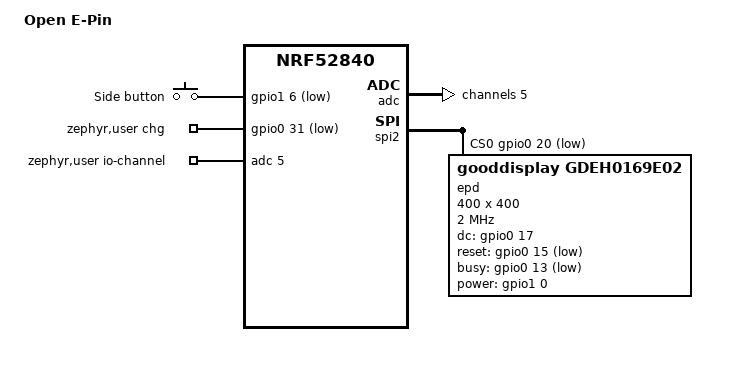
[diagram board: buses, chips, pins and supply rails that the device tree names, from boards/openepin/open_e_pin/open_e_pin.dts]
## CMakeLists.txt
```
# SPDX-License-Identifier: GPL-3.0-or-later
cmake_minimum_required(VERSION 3.20.0)

# The custom board lives in this repository, under boards/.
list(APPEND BOARD_ROOT ${CMAKE_CURRENT_SOURCE_DIR})
# Devicetree binding for the panel.
list(APPEND DTS_ROOT ${CMAKE_CURRENT_SOURCE_DIR})

find_package(Zephyr REQUIRED HINTS $ENV{ZEPHYR_BASE})
project(open_e_pin)

target_sources(app PRIVATE
	src/main.c
	src/ble_image.c
	src/xfer.c
	src/epd.c
	src/battery.c
	src/power.c
)
```

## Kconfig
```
# SPDX-License-Identifier: GPL-3.0-or-later

mainmenu "Open E-Pin firmware"

menu "Open E-Pin"

config EPIN_ADV_TIMEOUT_S
	int "Advertising window after a button press, in seconds"
	default 60

config EPIN_IDLE_TIMEOUT_S
	int "Time to stay awake after the app disconnects, in seconds"
	default 30
	help
	  The pin keeps advertising for this long after a disconnect so an
	  interrupted upload can resume, then goes to System OFF.

config EPIN_BATTERY_POLL_S
	int "Battery measurement interval while awake, in seconds"
	default 60

config EPIN_MIN_REFRESH_MV
	int "Lowest battery voltage that still allows a panel refresh, in mV"
	default 3400
	help
	  A refresh draws a burst of current from a 60 mAh cell. Below this
	  voltage the pin refuses COMMIT and CLEAR with LOW_BATTERY.

config EPIN_EPD_BUSY_TIMEOUT_S
	int "Longest wait for a panel refresh, in seconds"
	default 120
	help
	  The vendor sample allows 120 s for the refresh, 60 s for power
	  on/off and 15 s for reset.

config EPIN_EPD_CS_PER_BYTE
	bool "Toggle panel chip select around every byte"
	help
	  The vendor sample raises CS after every byte. By default the frame
	  goes out in 4 kB bursts with CS held low, which is much faster.
	  Turn this on if the panel shows garbage.

config EPIN_HW_REV
	int "Hardware revision reported in the Info characteristic"
	default 1

endmenu

source "Kconfig.zephyr"
```

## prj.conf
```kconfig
# Open E-Pin application configuration (all boards).

# Bluetooth LE peripheral
CONFIG_BT=y
CONFIG_BT_PERIPHERAL=y
CONFIG_BT_DEVICE_NAME="Open E-Pin"
CONFIG_BT_MAX_CONN=1
CONFIG_BT_BAS=y
CONFIG_BT_DIS=y
CONFIG_BT_DIS_MODEL_NUMBER=y
CONFIG_BT_DIS_MODEL_NUMBER_STR="Open E-Pin"
CONFIG_BT_DIS_MANUF_NAME=y
CONFIG_BT_DIS_MANUF_NAME_STR="Open E-Pin project"
CONFIG_BT_DIS_FW_REV=y
CONFIG_BT_DIS_FW_REV_STR="0.1.0"

# Large MTU, long packets, 2M PHY and a short interval for fast image transfer
CONFIG_BT_L2CAP_TX_MTU=247
CONFIG_BT_BUF_ACL_RX_SIZE=251
CONFIG_BT_BUF_ACL_TX_SIZE=251
CONFIG_BT_CTLR_DATA_LENGTH_MAX=251
CONFIG_BT_USER_PHY_UPDATE=y
CONFIG_BT_USER_DATA_LEN_UPDATE=y
CONFIG_BT_GAP_AUTO_UPDATE_CONN_PARAMS=y
CONFIG_BT_PERIPHERAL_PREF_MIN_INT=6
CONFIG_BT_PERIPHERAL_PREF_MAX_INT=12
CONFIG_BT_PERIPHERAL_PREF_LATENCY=0
CONFIG_BT_PERIPHERAL_PREF_TIMEOUT=400

# Peripherals
CONFIG_GPIO=y
CONFIG_SPI=y
CONFIG_ADC=y
CONFIG_PM_DEVICE=y
CONFIG_POWEROFF=y
CONFIG_HWINFO=y

# Threads
CONFIG_MAIN_STACK_SIZE=2048
CONFIG_SYSTEM_WORKQUEUE_STACK_SIZE=2048

# Logging (the board config picks the backend)
CONFIG_LOG=y
```

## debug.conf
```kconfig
# Extra options for bench debugging: west build -- -DEXTRA_CONF_FILE=debug.conf
CONFIG_LOG_DEFAULT_LEVEL=4
CONFIG_ASSERT=y
CONFIG_THREAD_NAME=y
CONFIG_BT_LOG_LEVEL_INF=y
```

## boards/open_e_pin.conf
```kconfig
# The board has no UART pins: log over SEGGER RTT through the SWD pads.
CONFIG_USE_SEGGER_RTT=y
CONFIG_LOG_BACKEND_RTT=y
CONFIG_LOG_BACKEND_UART=n
CONFIG_CONSOLE=n
CONFIG_UART_CONSOLE=n
CONFIG_SERIAL=n
CONFIG_LOG_BACKEND_RTT_MODE_DROP=y
```

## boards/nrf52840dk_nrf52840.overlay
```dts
/* SPDX-License-Identifier: GPL-3.0-or-later */
/*
 * Bench setup: nRF52840 DK with a GDEH0169E02 on a Good Display adapter
 * board (DESPI-C02 or similar). Wire:
 *   SCK P1.15, MOSI P1.13, CS P1.12, DC P1.11, RST P1.10, BUSY P1.14,
 *   adapter power switch (optional) P1.08.
 * DK Button 1 stands in for the side button. P0.29 (AIN5) can take a
 * battery divider; P1.07 stands in for the charger status line.
 */

#include <zephyr/dt-bindings/adc/nrf-saadc.h>

&pinctrl {
	epd_spi_default: epd_spi_default {
		group1 {
			psels = <NRF_PSEL(SPIM_SCK, 1, 15)>,
				<NRF_PSEL(SPIM_MOSI, 1, 13)>;
		};
	};

	epd_spi_sleep: epd_spi_sleep {
		group1 {
			psels = <NRF_PSEL(SPIM_SCK, 1, 15)>,
				<NRF_PSEL(SPIM_MOSI, 1, 13)>;
			low-power-enable;
		};
	};
};

/ {
	zephyr,user {
		io-channels = <&adc 5>;
		chg-gpios = <&gpio1 7 (GPIO_ACTIVE_LOW | GPIO_PULL_UP)>;
	};
};

&adc {
	#address-cells = <1>;
	#size-cells = <0>;
	status = "okay";

	channel@5 {
		reg = <5>;
		zephyr,gain = "ADC_GAIN_1_6";
		zephyr,reference = "ADC_REF_INTERNAL";
		zephyr,acquisition-time = <ADC_ACQ_TIME(ADC_ACQ_TIME_MICROSECONDS, 40)>;
		zephyr,input-positive = <NRF_SAADC_AIN5>;
		zephyr,resolution = <12>;
		zephyr,oversampling = <4>;
	};
};

&spi2 {
	compatible = "nordic,nrf-spim";
	status = "okay";
	pinctrl-0 = <&epd_spi_default>;
	pinctrl-1 = <&epd_spi_sleep>;
	pinctrl-names = "default", "sleep";
	cs-gpios = <&gpio1 12 GPIO_ACTIVE_LOW>;

	epd: epd@0 {
		compatible = "gooddisplay,gdeh0169e02";
		reg = <0>;
		spi-max-frequency = <2000000>;
		dc-gpios = <&gpio1 11 GPIO_ACTIVE_HIGH>;
		reset-gpios = <&gpio1 10 GPIO_ACTIVE_LOW>;
		busy-gpios = <&gpio1 14 GPIO_ACTIVE_LOW>;
		power-gpios = <&gpio1 8 GPIO_ACTIVE_HIGH>;
		width = <400>;
		height = <400>;
	};
};
```

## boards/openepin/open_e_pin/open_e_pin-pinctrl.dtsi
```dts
/* SPDX-License-Identifier: GPL-3.0-or-later */
/* Pin map: hardware/README.md, "MCU pin map". */

&pinctrl {
	epd_spi_default: epd_spi_default {
		group1 {
			psels = <NRF_PSEL(SPIM_SCK, 0, 22)>,
				<NRF_PSEL(SPIM_MOSI, 0, 24)>;
		};
	};

	epd_spi_sleep: epd_spi_sleep {
		group1 {
			psels = <NRF_PSEL(SPIM_SCK, 0, 22)>,
				<NRF_PSEL(SPIM_MOSI, 0, 24)>;
			low-power-enable;
		};
	};
};
```

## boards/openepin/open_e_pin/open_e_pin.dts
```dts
/* SPDX-License-Identifier: GPL-3.0-or-later */
/*
 * Open E-Pin board v0.1: Raytac MDBT50Q-1MV2 (nRF52840), GDEH0169E02 round
 * e-paper on SPI, side button, LiPo with divider and charger status line.
 * Pin map: hardware/README.md and hardware/scripts/design.py.
 */

/dts-v1/;
#include <nordic/nrf52840_qiaa.dtsi>
#include <zephyr/dt-bindings/input/input-event-codes.h>
#include <zephyr/dt-bindings/adc/nrf-saadc.h>
#include <zephyr/dt-bindings/regulator/nrf5x.h>
#include "open_e_pin-pinctrl.dtsi"

/ {
	model = "Open E-Pin";
	compatible = "openepin,open-e-pin";

	chosen {
		zephyr,sram = &sram0;
		zephyr,flash = &flash0;
		zephyr,code-partition = &code_partition;
	};

	aliases {
		sw0 = &button0;
	};

	buttons {
		compatible = "gpio-keys";
		/* SW1 side button to GND on P1.06, internal pull-up. */
		button0: button_0 {
			gpios = <&gpio1 6 (GPIO_PULL_UP | GPIO_ACTIVE_LOW)>;
			label = "Side button";
			zephyr,code = <INPUT_KEY_0>;
		};
	};

	zephyr,user {
		/* VBAT_SYS through a 10M/10M divider on P0.29 (AIN5). */
		io-channels = <&adc 5>;
		/* BQ25101 ~CHG through 100k on P0.31: low while charging. */
		chg-gpios = <&gpio0 31 (GPIO_ACTIVE_LOW | GPIO_PULL_UP)>;
	};
};

&reg1 {
	/* The module carries the DC/DC inductors. */
	regulator-initial-mode = <NRF5X_REG_MODE_DCDC>;
};

&uicr {
	/* P0.18 is the reset pin, on the RESET test pad. */
	gpio-as-nreset;
};

&gpiote {
	status = "okay";
};

&gpio0 {
	status = "okay";
};

&gpio1 {
	status = "okay";
};

&adc {
	#address-cells = <1>;
	#size-cells = <0>;
	status = "okay";

	channel@5 {
		reg = <5>;
		zephyr,gain = "ADC_GAIN_1_6";
		zephyr,reference = "ADC_REF_INTERNAL";
		/* 10M source impedance: longest acquisition time, 100 nF hold cap. */
		zephyr,acquisition-time = <ADC_ACQ_TIME(ADC_ACQ_TIME_MICROSECONDS, 40)>;
		zephyr,input-positive = <NRF_SAADC_AIN5>;
		zephyr,resolution = <12>;
		zephyr,oversampling = <4>;
	};
};

&spi2 {
	compatible = "nordic,nrf-spim";
	status = "okay";
	pinctrl-0 = <&epd_spi_default>;
	pinctrl-1 = <&epd_spi_sleep>;
	pinctrl-names = "default", "sleep";
	cs-gpios = <&gpio0 20 GPIO_ACTIVE_LOW>;

	epd: epd@0 {
		compatible = "gooddisplay,gdeh0169e02";
		reg = <0>;
		spi-max-frequency = <2000000>;	/* as the vendor sample */
		dc-gpios = <&gpio0 17 GPIO_ACTIVE_HIGH>;	/* high = data */
		reset-gpios = <&gpio0 15 GPIO_ACTIVE_LOW>;
		/* BUSY low = busy: spec pin table and the vendor sample agree (note 6-4 says the opposite). */
		busy-gpios = <&gpio0 13 GPIO_ACTIVE_LOW>;
		power-gpios = <&gpio1 0 GPIO_ACTIVE_HIGH>;	/* TPS22916C enable */
		width = <400>;
		height = <400>;
	};
};

&flash0 {
	partitions {
		compatible = "fixed-partitions";
		#address-cells = <1>;
		#size-cells = <1>;

		code_partition: partition@0 {
			label = "code";
			reg = <0x00000000 0x000f8000>;
		};

		storage_partition: partition@f8000 {
			label = "storage";
			reg = <0x000f8000 0x00008000>;
		};
	};
};
```

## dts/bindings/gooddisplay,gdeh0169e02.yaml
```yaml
# SPDX-License-Identifier: GPL-3.0-or-later

description: |
  Good Display GDEH0169E02, 1.69 inch round 400x400 Spectra 6 e-paper
  (IST7601 / JD7601 controller) on 4-wire SPI. Used directly by the Open E-Pin
  application, not through the Zephyr display API.

compatible: "gooddisplay,gdeh0169e02"

include: spi-device.yaml

properties:
  dc-gpios:
    type: phandle-array
    required: true
    description: Data/command select. Active (high) = data.

  reset-gpios:
    type: phandle-array
    required: true
    description: RST_N, active low.

  busy-gpios:
    type: phandle-array
    required: true
    description: BUSY. Flag it so that "active" means the panel is busy.

  power-gpios:
    type: phandle-array
    description: Optional load-switch enable for the panel supply.

  width:
    type: int
    required: true

  height:
    type: int
    required: true
```

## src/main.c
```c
/* SPDX-License-Identifier: GPL-3.0-or-later */
/*
 * Open E-Pin firmware: wake on button, advertise, receive an image over BLE,
 * draw it on the round e-paper panel, go back to System OFF.
 */
#include <zephyr/bluetooth/bluetooth.h>
#include <zephyr/bluetooth/conn.h>
#include <zephyr/bluetooth/gap.h>
#include <zephyr/bluetooth/uuid.h>
#include <zephyr/kernel.h>
#include <zephyr/logging/log.h>

#include <app_version.h>

#include "battery.h"
#include "ble_image.h"
#include "epd.h"
#include "power.h"
#include "proto.h"

LOG_MODULE_REGISTER(main, LOG_LEVEL_INF);

/* An idle connection is dropped after this long, so a forgotten app can't
 * keep the pin awake. */
#define CONN_IDLE_TIMEOUT_MS (120 * 1000)

static const struct bt_data ad[] = {
	BT_DATA_BYTES(BT_DATA_FLAGS, (BT_LE_AD_GENERAL | BT_LE_AD_NO_BREDR)),
	BT_DATA(BT_DATA_NAME_COMPLETE, CONFIG_BT_DEVICE_NAME, sizeof(CONFIG_BT_DEVICE_NAME) - 1),
};

static const struct bt_data sd[] = {
	BT_DATA_BYTES(BT_DATA_UUID128_ALL, EPIN_UUID_SVC),
};

static struct bt_conn *current_conn;
static bool advertising;
static bool sleep_asap; /* the app sent SLEEP */

/* ---- sleep ------------------------------------------------------------ */

static void sleep_fn(struct k_work *work);
static K_WORK_DELAYABLE_DEFINE(sleep_work, sleep_fn);

static void schedule_sleep(int seconds)
{
	k_work_reschedule(&sleep_work, K_SECONDS(seconds));
}

static void sleep_fn(struct k_work *work)
{
	ARG_UNUSED(work);

	if (current_conn || ble_image_busy()) {
		/* Disconnect and refresh-done both reschedule. */
		return;
	}
	if (advertising) {
		(void)bt_le_adv_stop();
		advertising = false;
	}
	ble_image_reset();
	power_sleep();
}

/* ---- advertising ------------------------------------------------------ */

static void start_advertising(void)
{
	const struct bt_le_adv_param *param = BT_LE_ADV_PARAM(
		BT_LE_ADV_OPT_CONN, BT_GAP_ADV_FAST_INT_MIN_2, BT_GAP_ADV_FAST_INT_MAX_2, NULL);
	int err;

	if (advertising || current_conn) {
		return;
	}
	err = bt_le_adv_start(param, ad, ARRAY_SIZE(ad), sd, ARRAY_SIZE(sd));
	if (err) {
		LOG_ERR("advertising failed (%d)", err);
		return;
	}
	advertising = true;
	LOG_INF("advertising");
}

/* ---- connection ------------------------------------------------------- */

static void connected(struct bt_conn *conn, uint8_t err)
{
	if (err) {
		LOG_WRN("connection failed (0x%02x)", err);
		advertising = false;
		start_advertising();
		return;
	}
	LOG_INF("connected");
	advertising = false; /* connectable advertising stops on connect */
	current_conn = bt_conn_ref(conn);
	k_work_cancel_delayable(&sleep_work);

	/* Fast transfer: 2M PHY and long data packets. The app also asks. */
	(void)bt_conn_le_phy_update(conn, BT_CONN_LE_PHY_PARAM_2M);
	(void)bt_conn_le_data_len_update(conn, BT_LE_DATA_LEN_PARAM_MAX);

	(void)battery_measure();
}

static void disconnected(struct bt_conn *conn, uint8_t reason)
{
	LOG_INF("disconnected (0x%02x)", reason);
	if (current_conn) {
		bt_conn_unref(current_conn);
		current_conn = NULL;
	}
	/* Keep advertising for a while so an interrupted upload can resume. */
	if (sleep_asap) {
		schedule_sleep(1);
		return;
	}
	start_advertising();
	schedule_sleep(CONFIG_EPIN_IDLE_TIMEOUT_S);
}

BT_CONN_CB_DEFINE(conn_callbacks) = {
	.connected = connected,
	.disconnected = disconnected,
};

/* ---- panel refresh ---------------------------------------------------- */

#define REFRESH_STACK_SIZE 2048
#define REFRESH_PRIORITY   K_LOWEST_APPLICATION_THREAD_PRIO
K_THREAD_STACK_DEFINE(refresh_stack, REFRESH_STACK_SIZE);
static struct k_work_q refresh_q;

static const uint8_t *refresh_frame;
static enum epd_color refresh_color;

static void refresh_fn(struct k_work *work)
{
	int err;

	ARG_UNUSED(work);
	if (refresh_frame) {
		err = epd_show_frame(refresh_frame, EPD_FRAME_BYTES);
	} else {
		err = epd_show_solid(refresh_color);
	}
	ble_image_refresh_done(err ? EPIN_ST_PANEL_ERROR : EPIN_ST_OK);
	(void)battery_measure();

	if (!current_conn) {
		schedule_sleep(CONFIG_EPIN_IDLE_TIMEOUT_S);
	}
}

static K_WORK_DEFINE(refresh_work, refresh_fn);

static int can_refresh(void)
{
	(void)battery_measure();
	if (battery_get().mv < CONFIG_EPIN_MIN_REFRESH_MV && !battery_get().usb) {
		return EPIN_ST_LOW_BATTERY;
	}
	return EPIN_ST_OK;
}

static void start_refresh(const uint8_t *frame, enum epd_color color)
{
	refresh_frame = frame;
	refresh_color = color;
	k_work_submit_to_queue(&refresh_q, &refresh_work);
}

static void disconnect_fn(struct k_work *work)
{
	ARG_UNUSED(work);
	if (current_conn) {
		(void)bt_conn_disconnect(current_conn, BT_HCI_ERR_REMOTE_USER_TERM_CONN);
	}
}

static K_WORK_DELAYABLE_DEFINE(disconnect_work, disconnect_fn);

static void sleep_requested(void)
{
	/* Give the response notification time to go out, then hang up. The
	 * disconnect handler then sleeps within a second. */
	sleep_asap = true;
	k_work_reschedule(&disconnect_work, K_MSEC(200));
}

static const struct ble_image_cb image_cb = {
	.can_refresh = can_refresh,
	.start_refresh = start_refresh,
	.sleep_requested = sleep_requested,
};

/* ---- button and housekeeping ------------------------------------------ */

static void on_button(void)
{
	LOG_INF("button");
	if (!current_conn) {
		start_advertising();
		schedule_sleep(CONFIG_EPIN_ADV_TIMEOUT_S);
	}
}

static void housekeeping_fn(struct k_work *work);
static K_WORK_DELAYABLE_DEFINE(housekeeping_work, housekeeping_fn);

static void housekeeping_fn(struct k_work *work)
{
	ARG_UNUSED(work);
	(void)battery_measure();

	if (current_conn && !ble_image_busy() &&
	    k_uptime_get() - ble_image_last_activity() > CONN_IDLE_TIMEOUT_MS) {
		LOG_INF("connection idle, disconnecting");
		(void)bt_conn_disconnect(current_conn, BT_HCI_ERR_REMOTE_USER_TERM_CONN);
	}
	k_work_reschedule(&housekeeping_work, K_SECONDS(CONFIG_EPIN_BATTERY_POLL_S));
}

int main(void)
{
	bool woke_by_button = false;
	int err;

	LOG_INF("Open E-Pin firmware %s", APP_VERSION_STRING);

	err = epd_setup();
	if (err) {
		LOG_ERR("panel setup failed (%d)", err);
	}
	err = power_init(on_button, &woke_by_button);
	if (err) {
		LOG_ERR("button setup failed (%d)", err);
	}

	k_work_queue_start(&refresh_q, refresh_stack, K_THREAD_STACK_SIZEOF(refresh_stack),
			   REFRESH_PRIORITY, NULL);

	err = bt_enable(NULL);
	if (err) {
		LOG_ERR("Bluetooth init failed (%d)", err);
		power_sleep();
	}

	err = battery_init();
	if (err) {
		LOG_ERR("battery init failed (%d)", err);
	}

	ble_image_init(&image_cb);

	/* Both a button wake and a first power-up (battery plugged in, or a
	 * reset from the debugger) open the advertising window. */
	start_advertising();
	schedule_sleep(CONFIG_EPIN_ADV_TIMEOUT_S);
	k_work_reschedule(&housekeeping_work, K_SECONDS(CONFIG_EPIN_BATTERY_POLL_S));

	return 0;
}
```

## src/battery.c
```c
/* SPDX-License-Identifier: GPL-3.0-or-later */
#include <zephyr/bluetooth/services/bas.h>
#include <zephyr/drivers/adc.h>
#include <zephyr/drivers/gpio.h>
#include <zephyr/kernel.h>
#include <zephyr/logging/log.h>

#if defined(CONFIG_SOC_SERIES_NRF52X)
#include <hal/nrf_power.h>
#endif

#include "battery.h"

LOG_MODULE_REGISTER(battery, LOG_LEVEL_INF);

#define USER_NODE DT_PATH(zephyr_user)

static const struct adc_dt_spec vbat = ADC_DT_SPEC_GET(USER_NODE);
static const struct gpio_dt_spec chg = GPIO_DT_SPEC_GET_OR(USER_NODE, chg_gpios, {0});

/* VBAT_SYS feeds the ADC through 10M / 10M. */
#define DIVIDER_NUM 2
#define DIVIDER_DEN 1

static struct battery_status cached;
static K_MUTEX_DEFINE(lock);

/* Resting-voltage curve for a small LiPo, in mV and percent. Light load. */
static const struct {
	uint16_t mv;
	uint8_t pct;
} curve[] = {
	{ 4180, 100 }, { 4100, 92 }, { 4000, 80 }, { 3900, 66 }, { 3800, 50 },
	{ 3750, 40 },  { 3700, 30 }, { 3650, 20 }, { 3600, 12 }, { 3500, 5 },
	{ 3300, 0 },
};

static uint8_t mv_to_percent(int mv)
{
	if (mv >= curve[0].mv) {
		return 100;
	}
	for (size_t i = 1; i < ARRAY_SIZE(curve); i++) {
		if (mv >= curve[i].mv) {
			int span_mv = curve[i - 1].mv - curve[i].mv;
			int span_pct = curve[i - 1].pct - curve[i].pct;

			return curve[i].pct + (mv - curve[i].mv) * span_pct / span_mv;
		}
	}
	return 0;
}

int battery_init(void)
{
	int err;

	if (!adc_is_ready_dt(&vbat)) {
		LOG_ERR("ADC not ready");
		return -ENODEV;
	}
	err = adc_channel_setup_dt(&vbat);
	if (err) {
		return err;
	}
	if (chg.port) {
		err = gpio_pin_configure_dt(&chg, GPIO_INPUT);
		if (err) {
			return err;
		}
	}
	return battery_measure();
}

int battery_measure(void)
{
	int16_t sample = 0;
	struct adc_sequence seq = {
		.buffer = &sample,
		.buffer_size = sizeof(sample),
	};
	struct battery_status s = { 0 };
	int32_t mv;
	int err;

	adc_sequence_init_dt(&vbat, &seq);
	err = adc_read_dt(&vbat, &seq);
	if (err) {
		LOG_ERR("ADC read failed (%d)", err);
		return err;
	}

	mv = MAX(sample, 0);
	err = adc_raw_to_millivolts_dt(&vbat, &mv);
	if (err) {
		return err;
	}
	mv = mv * DIVIDER_NUM / DIVIDER_DEN;

	s.mv = (uint16_t)CLAMP(mv, 0, UINT16_MAX);
	s.percent = mv_to_percent(mv);
	s.charging = chg.port ? gpio_pin_get_dt(&chg) == 1 : false;
#if defined(CONFIG_SOC_SERIES_NRF52X) && NRF_POWER_HAS_USBREG
	s.usb = nrf_power_usbregstatus_vbusdet_get(NRF_POWER);
#endif

	k_mutex_lock(&lock, K_FOREVER);
	cached = s;
	k_mutex_unlock(&lock);

	bt_bas_set_battery_level(s.percent);
	LOG_INF("battery %u mV, %u%%%s%s", s.mv, s.percent,
		s.charging ? ", charging" : "", s.usb ? ", USB" : "");
	return 0;
}

struct battery_status battery_get(void)
{
	struct battery_status s;

	k_mutex_lock(&lock, K_FOREVER);
	s = cached;
	k_mutex_unlock(&lock);
	return s;
}
```

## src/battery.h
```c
/* SPDX-License-Identifier: GPL-3.0-or-later */
#ifndef EPIN_BATTERY_H_
#define EPIN_BATTERY_H_

#include <stdbool.h>
#include <stdint.h>

struct battery_status {
	uint16_t mv;     /* VBAT_SYS in millivolts */
	uint8_t percent; /* 0..100, from a LiPo discharge curve */
	bool charging;   /* BQ25101 ~CHG is low */
	bool usb;        /* VBUS present */
};

int battery_init(void);

/* Take a fresh measurement, update the cached value and the Battery Service. */
int battery_measure(void);

/* Last measurement. */
struct battery_status battery_get(void);

#endif /* EPIN_BATTERY_H_ */
```

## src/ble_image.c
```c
/* SPDX-License-Identifier: GPL-3.0-or-later */
#include <zephyr/bluetooth/bluetooth.h>
#include <zephyr/bluetooth/conn.h>
#include <zephyr/bluetooth/gatt.h>
#include <zephyr/bluetooth/uuid.h>
#include <zephyr/kernel.h>
#include <zephyr/logging/log.h>
#include <zephyr/sys/byteorder.h>

#include <app_version.h>

#include "battery.h"
#include "ble_image.h"
#include "epd.h"
#include "proto.h"
#include "xfer.h"

LOG_MODULE_REGISTER(ble_image, LOG_LEVEL_INF);

static struct bt_uuid_128 svc_uuid = BT_UUID_INIT_128(EPIN_UUID_SVC);
static struct bt_uuid_128 info_uuid = BT_UUID_INIT_128(EPIN_UUID_INFO);
static struct bt_uuid_128 ctrl_uuid = BT_UUID_INIT_128(EPIN_UUID_CONTROL);
static struct bt_uuid_128 data_uuid = BT_UUID_INIT_128(EPIN_UUID_DATA);

/* The whole frame lives in RAM (80 kB of 256 kB) so a dropped link can resume. */
static uint8_t frame[EPD_FRAME_BYTES];
static struct xfer xfer;
static K_MUTEX_DEFINE(lock);

static const struct ble_image_cb *cbs;
static bool clearing; /* CLEAR in progress (xfer stays idle) */
static int64_t last_activity;

static ssize_t read_info(struct bt_conn *conn, const struct bt_gatt_attr *attr,
			 void *buf, uint16_t len, uint16_t offset);
static ssize_t write_ctrl(struct bt_conn *conn, const struct bt_gatt_attr *attr,
			  const void *buf, uint16_t len, uint16_t offset, uint8_t flags);
static ssize_t write_data(struct bt_conn *conn, const struct bt_gatt_attr *attr,
			  const void *buf, uint16_t len, uint16_t offset, uint8_t flags);

BT_GATT_SERVICE_DEFINE(epin_svc,
	BT_GATT_PRIMARY_SERVICE(&svc_uuid),
	BT_GATT_CHARACTERISTIC(&info_uuid.uuid, BT_GATT_CHRC_READ,
			       BT_GATT_PERM_READ, read_info, NULL, NULL),
	BT_GATT_CHARACTERISTIC(&ctrl_uuid.uuid, BT_GATT_CHRC_WRITE | BT_GATT_CHRC_NOTIFY,
			       BT_GATT_PERM_WRITE, NULL, write_ctrl, NULL),
	BT_GATT_CCC(NULL, BT_GATT_PERM_READ | BT_GATT_PERM_WRITE),
	BT_GATT_CHARACTERISTIC(&data_uuid.uuid, BT_GATT_CHRC_WRITE_WITHOUT_RESP,
			       BT_GATT_PERM_WRITE, NULL, write_data, NULL),
);

/* Attribute index of the Control value, for notifications. */
#define CTRL_ATTR (&epin_svc.attrs[4])

static void notify(struct bt_conn *conn, const uint8_t *msg, size_t len)
{
	int err = bt_gatt_notify(conn, CTRL_ATTR, msg, len);

	if (err && err != -ENOTCONN) {
		LOG_WRN("notify 0x%02x failed (%d)", msg[0], err);
	}
}

static void respond(struct bt_conn *conn, uint8_t op, uint8_t status,
		    const uint8_t *payload, size_t plen)
{
	uint8_t msg[2 + 8];

	__ASSERT_NO_MSG(plen <= 8);
	msg[0] = EPIN_OP_RESPONSE | op;
	msg[1] = status;
	memcpy(&msg[2], payload, plen);
	notify(conn, msg, 2 + plen);
}

static void event_u32(struct bt_conn *conn, uint8_t evt, uint32_t value)
{
	uint8_t msg[5] = { evt };

	sys_put_le32(value, &msg[1]);
	notify(conn, msg, sizeof(msg));
}

static bool panel_busy_locked(void)
{
	return clearing || xfer.state == XFER_REFRESHING;
}

static ssize_t read_info(struct bt_conn *conn, const struct bt_gatt_attr *attr,
			 void *buf, uint16_t len, uint16_t offset)
{
	struct battery_status bat = battery_get();
	uint8_t info[16] = { 0 };
	uint8_t state;

	k_mutex_lock(&lock, K_FOREVER);
	state = clearing ? XFER_REFRESHING : xfer_reported_state(&xfer);
	k_mutex_unlock(&lock);

	info[0] = EPIN_PROTO_VERSION;
	info[1] = CONFIG_EPIN_HW_REV;
	sys_put_le16(EPD_WIDTH, &info[2]);
	sys_put_le16(EPD_HEIGHT, &info[4]);
	info[6] = EPIN_FMT_MASK;
	info[7] = state;
	sys_put_le16(bat.mv, &info[8]);
	info[10] = bat.percent;
	info[11] = (bat.charging ? BIT(0) : 0) | (bat.usb ? BIT(1) : 0);
	info[12] = APP_VERSION_MAJOR;
	info[13] = APP_VERSION_MINOR;
	info[14] = APP_PATCHLEVEL;

	return bt_gatt_attr_read(conn, attr, buf, len, offset, info, sizeof(info));
}

static bool valid_color(uint8_t c)
{
	switch (c) {
	case EPD_BLACK: case EPD_WHITE: case EPD_YELLOW:
	case EPD_RED: case EPD_BLUE: case EPD_GREEN:
		return true;
	default:
		return false;
	}
}

static ssize_t write_ctrl(struct bt_conn *conn, const struct bt_gatt_attr *attr,
			  const void *buf, uint16_t len, uint16_t offset, uint8_t flags)
{
	const uint8_t *p = buf;
	uint8_t out[5];
	uint32_t resume;
	int st;

	if (offset != 0) {
		return BT_GATT_ERR(BT_ATT_ERR_INVALID_OFFSET);
	}
	if (len < 1) {
		return BT_GATT_ERR(BT_ATT_ERR_INVALID_ATTRIBUTE_LEN);
	}

	k_mutex_lock(&lock, K_FOREVER);
	last_activity = k_uptime_get();

	switch (p[0]) {
	case EPIN_OP_START:
		if (len != 14) {
			st = EPIN_ST_BAD_LENGTH;
			resume = 0;
		} else if (clearing) {
			st = EPIN_ST_BUSY;
			resume = 0;
		} else {
			st = xfer_start(&xfer, p[1], sys_get_le32(&p[2]), sys_get_le32(&p[6]),
					sys_get_le32(&p[10]), &resume);
		}
		LOG_INF("START len %u id 0x%08x: status %d, offset %u",
			len == 14 ? sys_get_le32(&p[2]) : 0, len == 14 ? sys_get_le32(&p[10]) : 0,
			st, resume);
		sys_put_le32(resume, out);
		respond(conn, EPIN_OP_START, st, out, 4);
		break;

	case EPIN_OP_STATUS:
		out[0] = clearing ? XFER_REFRESHING : xfer_reported_state(&xfer);
		sys_put_le32(xfer.offset, &out[1]);
		respond(conn, EPIN_OP_STATUS, EPIN_ST_OK, out, 5);
		break;

	case EPIN_OP_COMMIT:
		if (panel_busy_locked()) {
			st = EPIN_ST_BUSY;
		} else if (xfer_reported_state(&xfer) != XFER_READY) {
			st = EPIN_ST_BAD_STATE;
		} else {
			st = cbs->can_refresh();
			if (st == EPIN_ST_OK) {
				st = xfer_commit(&xfer);
			}
		}
		LOG_INF("COMMIT: status %d", st);
		respond(conn, EPIN_OP_COMMIT, st, NULL, 0);
		if (st == EPIN_ST_OK) {
			cbs->start_refresh(frame, EPD_WHITE);
		}
		break;

	case EPIN_OP_ABORT:
		xfer_reset(&xfer);
		respond(conn, EPIN_OP_ABORT, EPIN_ST_OK, NULL, 0);
		break;

	case EPIN_OP_CLEAR:
		if (len != 2 || !valid_color(p[1])) {
			st = EPIN_ST_BAD_FORMAT;
		} else if (panel_busy_locked()) {
			st = EPIN_ST_BUSY;
		} else {
			st = cbs->can_refresh();
		}
		respond(conn, EPIN_OP_CLEAR, st, NULL, 0);
		if (st == EPIN_ST_OK) {
			xfer_reset(&xfer);
			clearing = true;
			cbs->start_refresh(NULL, (enum epd_color)p[1]);
		}
		break;

	case EPIN_OP_SLEEP:
		respond(conn, EPIN_OP_SLEEP, EPIN_ST_OK, NULL, 0);
		cbs->sleep_requested();
		break;

	default:
		respond(conn, p[0] & ~EPIN_OP_RESPONSE, EPIN_ST_UNKNOWN_OPCODE, NULL, 0);
		break;
	}

	k_mutex_unlock(&lock);
	return len;
}

static ssize_t write_data(struct bt_conn *conn, const struct bt_gatt_attr *attr,
			  const void *buf, uint16_t len, uint16_t offset, uint8_t flags)
{
	const uint8_t *p = buf;
	enum xfer_data_result r;
	uint32_t at;
	int st = EPIN_ST_OK;

	if (offset != 0 || len <= EPIN_DATA_HDR_LEN) {
		return BT_GATT_ERR(BT_ATT_ERR_INVALID_ATTRIBUTE_LEN);
	}

	k_mutex_lock(&lock, K_FOREVER);
	last_activity = k_uptime_get();
	r = xfer_data(&xfer, sys_get_le32(p), p + EPIN_DATA_HDR_LEN,
		      len - EPIN_DATA_HDR_LEN, &st);
	at = xfer.offset;
	k_mutex_unlock(&lock);

	switch (r) {
	case XFER_DATA_ACK:
		event_u32(conn, EPIN_EVT_PROGRESS, at);
		break;
	case XFER_DATA_NAK:
		LOG_WRN("out of order at %u, expected %u", sys_get_le32(p), at);
		event_u32(conn, EPIN_EVT_NAK, at);
		break;
	case XFER_DATA_ERROR:
		LOG_WRN("data packet rejected (status %d)", st);
		break;
	default:
		break;
	}
	return len;
}

void ble_image_init(const struct ble_image_cb *cb)
{
	cbs = cb;
	xfer_init(&xfer, frame, sizeof(frame));
	last_activity = k_uptime_get();
}

void ble_image_refresh_done(int status)
{
	uint8_t msg[2] = { EPIN_EVT_REFRESH_DONE, (uint8_t)status };

	k_mutex_lock(&lock, K_FOREVER);
	clearing = false;
	if (xfer.state == XFER_REFRESHING) {
		xfer_refresh_done(&xfer);
	}
	last_activity = k_uptime_get();
	k_mutex_unlock(&lock);

	notify(NULL, msg, sizeof(msg));
}

bool ble_image_busy(void)
{
	bool busy;

	k_mutex_lock(&lock, K_FOREVER);
	busy = panel_busy_locked();
	k_mutex_unlock(&lock);
	return busy;
}

int64_t ble_image_last_activity(void)
{
	return last_activity;
}

void ble_image_reset(void)
{
	k_mutex_lock(&lock, K_FOREVER);
	xfer_reset(&xfer);
	k_mutex_unlock(&lock);
}
```

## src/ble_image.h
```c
/* SPDX-License-Identifier: GPL-3.0-or-later */
/*
 * Open E-Pin image service: Info, Control and Data characteristics.
 * Protocol: docs/ble-protocol.md.
 */
#ifndef EPIN_BLE_IMAGE_H_
#define EPIN_BLE_IMAGE_H_

#include <stdbool.h>
#include <stdint.h>

#include "epd.h"

struct ble_image_cb {
	/* Return EPIN_ST_OK if a refresh may start now (battery check). */
	int (*can_refresh)(void);
	/* Start drawing. frame is NULL for CLEAR, then color is used. Must not
	 * block: queue the work and call ble_image_refresh_done() when finished. */
	void (*start_refresh)(const uint8_t *frame, enum epd_color color);
	/* The app asked the pin to sleep. */
	void (*sleep_requested)(void);
};

void ble_image_init(const struct ble_image_cb *cb);

/* The panel finished (status is an epin_status). Notifies REFRESH_DONE. */
void ble_image_refresh_done(int status);

/* True while the panel is drawing. */
bool ble_image_busy(void);

/* Uptime in ms of the last request or data packet. */
int64_t ble_image_last_activity(void);

/* Drop any partial transfer (before sleeping). */
void ble_image_reset(void);

#endif /* EPIN_BLE_IMAGE_H_ */
```

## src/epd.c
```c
/* SPDX-License-Identifier: GPL-3.0-or-later */
#include <errno.h>
#include <string.h>

#include <zephyr/device.h>
#include <zephyr/drivers/gpio.h>
#include <zephyr/drivers/spi.h>
#include <zephyr/kernel.h>
#include <zephyr/logging/log.h>
#include <zephyr/pm/device.h>

#include "epd.h"
#include "epd_cmds.h"

LOG_MODULE_REGISTER(epd, LOG_LEVEL_INF);

#define EPD_NODE DT_COMPAT_GET_ANY_STATUS_OKAY(gooddisplay_gdeh0169e02)

BUILD_ASSERT(DT_NODE_EXISTS(EPD_NODE), "No gooddisplay,gdeh0169e02 node in devicetree");
BUILD_ASSERT(DT_PROP(EPD_NODE, width) == EPD_WIDTH && DT_PROP(EPD_NODE, height) == EPD_HEIGHT,
	     "Panel size in devicetree does not match epd.h");

static const struct spi_dt_spec spi = SPI_DT_SPEC_GET(
	EPD_NODE, SPI_OP_MODE_MASTER | SPI_WORD_SET(8) | SPI_TRANSFER_MSB, 0);
static const struct gpio_dt_spec dc = GPIO_DT_SPEC_GET(EPD_NODE, dc_gpios);
static const struct gpio_dt_spec rst = GPIO_DT_SPEC_GET(EPD_NODE, reset_gpios);
static const struct gpio_dt_spec busy = GPIO_DT_SPEC_GET(EPD_NODE, busy_gpios);
static const struct gpio_dt_spec pwr = GPIO_DT_SPEC_GET_OR(EPD_NODE, power_gpios, {0});

/* Largest single SPI transfer; the nRF52840 SPIM DMA limit is 65535. The
 * vendor sample toggles CS around every byte; CONFIG_EPIN_EPD_CS_PER_BYTE
 * does the same if the panel turns out to need it. */
#define EPD_SPI_CHUNK (IS_ENABLED(CONFIG_EPIN_EPD_CS_PER_BYTE) ? 1 : 4096)

/* BUSY timeouts from the vendor sample. */
#define BUSY_TIMEOUT_INIT_MS    15000
#define BUSY_TIMEOUT_POWER_MS   60000
#define BUSY_TIMEOUT_REFRESH_MS (CONFIG_EPIN_EPD_BUSY_TIMEOUT_S * 1000)

static int write_bytes(const uint8_t *data, size_t len)
{
	while (len > 0) {
		size_t n = MIN(len, EPD_SPI_CHUNK);
		const struct spi_buf b = { .buf = (void *)data, .len = n };
		const struct spi_buf_set tx = { .buffers = &b, .count = 1 };
		int err = spi_write_dt(&spi, &tx);

		if (err) {
			return err;
		}
		data += n;
		len -= n;
	}
	return 0;
}

static int send_cmd(uint8_t cmd, const uint8_t *data, size_t len)
{
	int err;

	gpio_pin_set_dt(&dc, 0);
	err = write_bytes(&cmd, 1);
	if (err || len == 0) {
		return err;
	}
	gpio_pin_set_dt(&dc, 1);
	return write_bytes(data, len);
}

static int wait_idle(int32_t timeout_ms)
{
	int64_t deadline = k_uptime_get() + timeout_ms;

	k_msleep(1);
	while (gpio_pin_get_dt(&busy) == 1) {
		if (k_uptime_get() > deadline) {
			LOG_ERR("BUSY timeout");
			return -ETIMEDOUT;
		}
		k_msleep(10);
	}
	return 0;
}

/* DTM: the vendor sample waits for BUSY between the command and the frame. */
static int start_frame(void)
{
	int err = send_cmd(EPD_CMD_DTM, NULL, 0);

	err = err ? err : wait_idle(BUSY_TIMEOUT_INIT_MS);
	gpio_pin_set_dt(&dc, 1);
	return err;
}

/* Before the panel loses power: drive CS, DC and RST low and let the SPI
 * pins go to their sleep state (disconnected), so no line sits high and
 * feeds the unpowered panel through its ESD diodes. */
static void lines_low(void)
{
	(void)gpio_pin_configure_dt(&spi.config.cs.gpio, GPIO_OUTPUT_LOW);
	(void)gpio_pin_configure_dt(&dc, GPIO_OUTPUT_LOW);
	(void)gpio_pin_configure_dt(&rst, GPIO_OUTPUT_LOW);
	(void)pm_device_action_run(spi.bus, PM_DEVICE_ACTION_SUSPEND);
}

/* With the panel off: disconnect everything so nothing floats or leaks. */
static void park_pins(void)
{
	(void)pm_device_action_run(spi.bus, PM_DEVICE_ACTION_SUSPEND);
	(void)gpio_pin_configure_dt(&spi.config.cs.gpio, GPIO_DISCONNECTED);
	(void)gpio_pin_configure_dt(&dc, GPIO_DISCONNECTED);
	(void)gpio_pin_configure_dt(&rst, GPIO_DISCONNECTED);
	(void)gpio_pin_configure_dt(&busy, GPIO_DISCONNECTED);
}

int epd_setup(void)
{
	if (!spi_is_ready_dt(&spi) || !gpio_is_ready_dt(&dc) ||
	    !gpio_is_ready_dt(&rst) || !gpio_is_ready_dt(&busy)) {
		LOG_ERR("panel bus or GPIOs not ready");
		return -ENODEV;
	}
	if (pwr.port) {
		gpio_pin_configure_dt(&pwr, GPIO_OUTPUT_INACTIVE);
	}
	park_pins();
	return 0;
}

/* RESET() from the vendor sample: two low/high pulses, then wait for BUSY. */
static int reset_pulse(void)
{
	int err;

	for (int i = 0; i < 2; i++) {
		gpio_pin_set_dt(&rst, 1); /* active = RST_N low */
		k_msleep(20);
		gpio_pin_set_dt(&rst, 0);
		k_msleep(10);
	}
	err = wait_idle(BUSY_TIMEOUT_INIT_MS);
	k_msleep(10);
	return err;
}

static int power_on_and_init(void)
{
	int err;

	if (pwr.port) {
		gpio_pin_set_dt(&pwr, 1);
		k_msleep(10); /* rail and decoupling settle */
	}

	(void)pm_device_action_run(spi.bus, PM_DEVICE_ACTION_RESUME);
	gpio_pin_configure_dt(&spi.config.cs.gpio, GPIO_OUTPUT_INACTIVE);
	gpio_pin_configure_dt(&dc, GPIO_OUTPUT_INACTIVE);
	gpio_pin_configure_dt(&rst, GPIO_OUTPUT_INACTIVE);
	gpio_pin_configure_dt(&busy, GPIO_INPUT);

	/* The vendor bring-up resets twice, each a double 20 ms low pulse. */
	for (int i = 0; i < 2; i++) {
		err = reset_pulse();
		if (err) {
			return err;
		}
	}

	for (size_t i = 0; i < ARRAY_SIZE(epd_init_seq); i++) {
		err = send_cmd(epd_init_seq[i].cmd, epd_init_seq[i].data, epd_init_seq[i].len);
		if (err) {
			return err;
		}
	}
	return 0;
}

static int refresh_and_sleep(void)
{
	static const uint8_t zero = 0x00;
	static const uint8_t dslp = EPD_DSLP_CHECK;
	int err;

	/* Same order and delays as the vendor sample. */
	err = send_cmd(EPD_CMD_PON, NULL, 0);
	err = err ? err : wait_idle(BUSY_TIMEOUT_POWER_MS);
	k_msleep(10);
	err = err ? err : send_cmd(EPD_CMD_DRF, &zero, 1);
	k_msleep(10);
	err = err ? err : wait_idle(BUSY_TIMEOUT_REFRESH_MS);
	err = err ? err : send_cmd(EPD_CMD_POF, &zero, 1);
	err = err ? err : wait_idle(BUSY_TIMEOUT_POWER_MS);
	k_msleep(20);
	if (!err) {
		err = send_cmd(EPD_CMD_DSLP, &dslp, 1);
	}
	return err;
}

void epd_power_off(void)
{
	lines_low();
	if (pwr.port) {
		gpio_pin_set_dt(&pwr, 0);
		k_msleep(1);
	}
	park_pins();
}

int epd_show_frame(const uint8_t *frame, size_t len)
{
	int64_t t0 = k_uptime_get();
	int err;

	if (len != EPD_FRAME_BYTES) {
		return -EINVAL;
	}

	err = power_on_and_init();
	err = err ? err : start_frame();
	err = err ? err : write_bytes(frame, len);
	err = err ? err : refresh_and_sleep();
	epd_power_off();

	LOG_INF("refresh %s in %lld ms", err ? "failed" : "done", k_uptime_get() - t0);
	return err;
}

int epd_show_solid(enum epd_color color)
{
	uint8_t line[EPD_WIDTH / 2];
	int err;

	memset(line, (color << 4) | color, sizeof(line));

	err = power_on_and_init();
	err = err ? err : start_frame();
	for (int y = 0; !err && y < EPD_HEIGHT; y++) {
		err = write_bytes(line, sizeof(line));
	}
	err = err ? err : refresh_and_sleep();
	epd_power_off();
	return err;
}
```

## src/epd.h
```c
/* SPDX-License-Identifier: GPL-3.0-or-later */
/*
 * Driver for the Good Display GDEH0169E02 (1.69" round, 400x400, Spectra 6,
 * IST7601 / JD7601 controller) on 4-wire SPI.
 *
 * Frame format: 4 bits per pixel, two pixels per byte, left pixel in the
 * high nibble, row-major, 80 000 bytes. See docs/ble-protocol.md.
 */
#ifndef EPIN_EPD_H_
#define EPIN_EPD_H_

#include <stddef.h>
#include <stdint.h>

#define EPD_WIDTH  400
#define EPD_HEIGHT 400
#define EPD_FRAME_BYTES (EPD_WIDTH * EPD_HEIGHT / 2)

/* Panel colour codes, as in Good Display's EPD169_7601 sample (PIC_BLACK etc.). */
enum epd_color {
	EPD_BLACK = 0x0,
	EPD_WHITE = 0x1,
	EPD_YELLOW = 0x2,
	EPD_RED = 0x3,
	EPD_BLUE = 0x5,
	EPD_GREEN = 0x6,
};

/* Configure GPIOs and leave the panel unpowered. Call once at boot. */
int epd_setup(void);

/* Power, reset and initialise the panel, send a full frame, refresh, and
 * power down again. Blocks for the whole refresh (tens of seconds). */
int epd_show_frame(const uint8_t *frame, size_t len);

/* Same, but every pixel is one colour. */
int epd_show_solid(enum epd_color color);

/* Cut panel power and park its pins so nothing back-powers it. */
void epd_power_off(void);

#endif /* EPIN_EPD_H_ */
```

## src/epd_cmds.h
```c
/* SPDX-License-Identifier: GPL-3.0-or-later */
/*
 * GDEH0169E02 command set and init sequence (JD7601 / IST7601 controller).
 *
 * Taken from Good Display's sample for this panel (EPD169_7601, an Arduino
 * and ESP-IDF port of their MSP430 reference "1D69_E6_400x400_7601_test.c").
 * The controller keeps its own waveform and resolution in OTP, so the init
 * is only a short test-mode sequence.
 */
#ifndef EPIN_EPD_CMDS_H_
#define EPIN_EPD_CMDS_H_

#include <stdint.h>

#define EPD_CMD_POF   0x02 /* power off, data 0x00 */
#define EPD_CMD_PON   0x04 /* power on, no data */
#define EPD_CMD_DSLP  0x07 /* deep sleep, data 0xA5 */
#define EPD_CMD_DTM   0x10 /* data start transmission (frame), wait BUSY before data */
#define EPD_CMD_DRF   0x12 /* display refresh, data 0x00 */
#define EPD_CMD_TSC   0x40 /* temperature read (needs a bidirectional SDA; unused) */
#define EPD_CMD_REV   0x70 /* revision read (needs a bidirectional SDA; unused) */
#define EPD_CMD_TEST  0xFF /* enter (0xA5) / exit (0xE3) test command mode */

#define EPD_DSLP_CHECK 0xA5

struct epd_init_step {
	uint8_t cmd;
	uint8_t len;
	uint8_t data[1];
};

/* INIT_IST7601() from the vendor sample, 1:1. */
static const struct epd_init_step epd_init_seq[] = {
	{ EPD_CMD_TEST, 1, { 0xA5 } }, /* enter test command mode */
	{ 0xD6,         1, { 0x00 } },
	{ EPD_CMD_TEST, 1, { 0xE3 } }, /* exit test command mode */
	{ 0xE9,         1, { 0x01 } },
};

#endif /* EPIN_EPD_CMDS_H_ */
```

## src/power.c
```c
/* SPDX-License-Identifier: GPL-3.0-or-later */
#include <zephyr/drivers/gpio.h>
#include <zephyr/drivers/hwinfo.h>
#include <zephyr/kernel.h>
#include <zephyr/logging/log.h>
#include <zephyr/sys/poweroff.h>

#include "epd.h"
#include "power.h"

LOG_MODULE_REGISTER(power, LOG_LEVEL_INF);

#define DEBOUNCE_MS 30

static const struct gpio_dt_spec button = GPIO_DT_SPEC_GET(DT_ALIAS(sw0), gpios);
static struct gpio_callback button_cb;
static void (*press_handler)(void);

static void debounce_fn(struct k_work *work)
{
	ARG_UNUSED(work);
	if (gpio_pin_get_dt(&button) == 1 && press_handler) {
		press_handler();
	}
}

static K_WORK_DELAYABLE_DEFINE(debounce_work, debounce_fn);

static void button_isr(const struct device *dev, struct gpio_callback *cb, uint32_t pins)
{
	k_work_reschedule(&debounce_work, K_MSEC(DEBOUNCE_MS));
}

int power_init(void (*on_press)(void), bool *woke_by_button)
{
	uint32_t cause = 0;
	int err;

	(void)hwinfo_get_reset_cause(&cause);
	(void)hwinfo_clear_reset_cause();
	*woke_by_button = (cause & RESET_LOW_POWER_WAKE) != 0;
	LOG_INF("reset cause 0x%08x%s", cause, *woke_by_button ? " (button wake)" : "");

	if (!gpio_is_ready_dt(&button)) {
		return -ENODEV;
	}
	err = gpio_pin_configure_dt(&button, GPIO_INPUT);
	if (err) {
		return err;
	}
	press_handler = on_press;
	gpio_init_callback(&button_cb, button_isr, BIT(button.pin));
	err = gpio_add_callback(button.port, &button_cb);
	if (err) {
		return err;
	}
	return gpio_pin_interrupt_configure_dt(&button, GPIO_INT_EDGE_TO_ACTIVE);
}

FUNC_NORETURN void power_sleep(void)
{
	LOG_INF("entering System OFF");
	epd_power_off();

	/* On nRF a level interrupt becomes a GPIO SENSE wake-up in System OFF. */
	(void)gpio_pin_interrupt_configure_dt(&button, GPIO_INT_LEVEL_ACTIVE);

	/* Let the log flush. */
	k_msleep(50);
	sys_poweroff();
}
```

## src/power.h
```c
/* SPDX-License-Identifier: GPL-3.0-or-later */
#ifndef EPIN_POWER_H_
#define EPIN_POWER_H_

#include <stdbool.h>

/* Set up the side button. on_press runs in the system work queue after
 * debouncing. Returns true when this boot was a wake-up from the button. */
int power_init(void (*on_press)(void), bool *woke_by_button);

/* Power the panel down, arm the button as the wake source and enter
 * System OFF. Does not return: the next press reboots the chip. */
FUNC_NORETURN void power_sleep(void);

#endif /* EPIN_POWER_H_ */
```

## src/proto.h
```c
/* SPDX-License-Identifier: GPL-3.0-or-later */
/*
 * Open E-Pin BLE protocol constants. The protocol is defined in
 * docs/ble-protocol.md; keep this file in step with it.
 */
#ifndef EPIN_PROTO_H_
#define EPIN_PROTO_H_

#define EPIN_PROTO_VERSION 1

/* 128-bit UUIDs: 7a1e000X-3c4d-4b5e-9f60-0e9e0e9e0e9e */
#define EPIN_UUID(x) BT_UUID_128_ENCODE(0x7a1e0000 + (x), 0x3c4d, 0x4b5e, 0x9f60, 0x0e9e0e9e0e9eULL)
#define EPIN_UUID_SVC     EPIN_UUID(1)
#define EPIN_UUID_INFO    EPIN_UUID(2)
#define EPIN_UUID_CONTROL EPIN_UUID(3)
#define EPIN_UUID_DATA    EPIN_UUID(4)

/* Image formats */
#define EPIN_FMT_4BPP      0x01
#define EPIN_FMT_MASK      (1u << 0)

/* Requests (app to pin) */
#define EPIN_OP_START      0x01
#define EPIN_OP_STATUS     0x02
#define EPIN_OP_COMMIT     0x03
#define EPIN_OP_ABORT      0x04
#define EPIN_OP_CLEAR      0x05
#define EPIN_OP_SLEEP      0x06
#define EPIN_OP_RESPONSE   0x80 /* OR'd with the request opcode */

/* Events (pin to app) */
#define EPIN_EVT_PROGRESS     0x90
#define EPIN_EVT_NAK          0x91
#define EPIN_EVT_REFRESH_DONE 0xA0

/* Status codes */
enum epin_status {
	EPIN_ST_OK = 0,
	EPIN_ST_BAD_LENGTH = 1,
	EPIN_ST_BAD_STATE = 2,
	EPIN_ST_CRC_MISMATCH = 3,
	EPIN_ST_BAD_FORMAT = 4,
	EPIN_ST_BUSY = 5,
	EPIN_ST_BAD_OFFSET = 6,
	EPIN_ST_LOW_BATTERY = 7,
	EPIN_ST_PANEL_ERROR = 8,
	EPIN_ST_UNKNOWN_OPCODE = 9,
};

/* Bytes between PROGRESS events */
#define EPIN_ACK_INTERVAL 4096u

/* Data packet header: u32 offset */
#define EPIN_DATA_HDR_LEN 4u

#endif /* EPIN_PROTO_H_ */
```

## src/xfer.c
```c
/* SPDX-License-Identifier: GPL-3.0-or-later */
#include <string.h>

#include "proto.h"
#include "xfer.h"

#define PANEL_W 400u
#define PANEL_H 400u

uint32_t xfer_format_size(uint8_t format)
{
	switch (format) {
	case EPIN_FMT_4BPP:
		return PANEL_W * PANEL_H / 2u;
	default:
		return 0;
	}
}

/*
 * CRC-32, reflected polynomial 0xEDB88320. Nibble table: 64 bytes of flash,
 * about 2 ms for a whole 80 kB image on a 64 MHz Cortex-M4.
 */
uint32_t xfer_crc32_update(uint32_t crc, const uint8_t *data, size_t n)
{
	static const uint32_t table[16] = {
		0x00000000, 0x1db71064, 0x3b6e20c8, 0x26d930ac,
		0x76dc4190, 0x6b6b51f4, 0x4db26158, 0x5005713c,
		0xedb88320, 0xf00f9344, 0xd6d6a3e8, 0xcb61b38c,
		0x9b64c2b0, 0x86d3d2d4, 0xa00ae278, 0xbdbdf21c,
	};

	crc = ~crc;
	for (size_t i = 0; i < n; i++) {
		crc ^= data[i];
		crc = (crc >> 4) ^ table[crc & 0x0f];
		crc = (crc >> 4) ^ table[crc & 0x0f];
	}
	return ~crc;
}

void xfer_init(struct xfer *x, uint8_t *buf, size_t cap)
{
	memset(x, 0, sizeof(*x));
	x->buf = buf;
	x->cap = cap;
}

void xfer_reset(struct xfer *x)
{
	if (x->state == XFER_REFRESHING) {
		/* The panel still reads buf; xfer_refresh_done() frees it. */
		return;
	}
	xfer_init(x, x->buf, x->cap);
}

int xfer_start(struct xfer *x, uint8_t format, uint32_t len, uint32_t crc,
	       uint32_t id, uint32_t *resume_offset)
{
	uint32_t size;

	*resume_offset = 0;

	if (x->state == XFER_REFRESHING) {
		return EPIN_ST_BUSY;
	}

	size = xfer_format_size(format);
	if (size == 0) {
		return EPIN_ST_BAD_FORMAT;
	}
	if (len != size || len > x->cap) {
		return EPIN_ST_BAD_LENGTH;
	}

	if ((x->state == XFER_RECEIVING || x->state == XFER_READY) &&
	    x->format == format && x->len == len &&
	    x->crc_expected == crc && x->id == id) {
		/* Same image: resume. */
		x->nak_sent = false;
		x->last_ack = x->offset;
		*resume_offset = x->offset;
		return EPIN_ST_OK;
	}

	xfer_init(x, x->buf, x->cap);
	x->state = XFER_RECEIVING;
	x->format = format;
	x->len = len;
	x->crc_expected = crc;
	x->id = id;
	return EPIN_ST_OK;
}

enum xfer_data_result xfer_data(struct xfer *x, uint32_t offset,
				const uint8_t *data, size_t n, int *status)
{
	if (x->state != XFER_RECEIVING || n == 0) {
		return XFER_DATA_DROPPED;
	}

	if (offset != x->offset) {
		/* One NAK per gap, so the packets already in flight don't each trigger one. */
		if (x->nak_sent) {
			return XFER_DATA_DROPPED;
		}
		x->nak_sent = true;
		return XFER_DATA_NAK;
	}

	if ((uint64_t)offset + n > x->len) {
		*status = EPIN_ST_BAD_LENGTH;
		return XFER_DATA_ERROR;
	}

	memcpy(&x->buf[offset], data, n);
	x->crc_run = xfer_crc32_update(x->crc_run, data, n);
	x->offset += (uint32_t)n;
	x->nak_sent = false;

	if (x->offset == x->len || x->offset - x->last_ack >= EPIN_ACK_INTERVAL) {
		x->last_ack = x->offset;
		return XFER_DATA_ACK;
	}
	return XFER_DATA_OK;
}

int xfer_commit(struct xfer *x)
{
	if (x->state == XFER_REFRESHING) {
		return EPIN_ST_BUSY;
	}
	if (x->state != XFER_RECEIVING && x->state != XFER_READY) {
		return EPIN_ST_BAD_STATE;
	}
	if (x->offset != x->len) {
		return EPIN_ST_BAD_STATE;
	}
	if (x->crc_run != x->crc_expected) {
		xfer_init(x, x->buf, x->cap);
		return EPIN_ST_CRC_MISMATCH;
	}
	x->state = XFER_REFRESHING;
	return EPIN_ST_OK;
}

void xfer_refresh_done(struct xfer *x)
{
	xfer_init(x, x->buf, x->cap);
}
```

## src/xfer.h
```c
/* SPDX-License-Identifier: GPL-3.0-or-later */
/*
 * Image transfer state machine: in-order chunked receive with a running
 * CRC-32, resume by image id, commit check. Plain C with no Zephyr
 * dependencies so it can be unit-tested on a PC (tests/host).
 */
#ifndef EPIN_XFER_H_
#define EPIN_XFER_H_

#include <stdbool.h>
#include <stddef.h>
#include <stdint.h>

enum xfer_state {
	XFER_IDLE = 0,
	XFER_RECEIVING = 1,
	XFER_READY = 2,      /* all bytes in, waiting for COMMIT (reported only) */
	XFER_REFRESHING = 3, /* owned by the panel until xfer_refresh_done() */
};

/* Result of xfer_data(): what the caller should notify. */
enum xfer_data_result {
	XFER_DATA_OK = 0,   /* stored, nothing to send */
	XFER_DATA_ACK,      /* stored, send PROGRESS(offset) */
	XFER_DATA_NAK,      /* out of order, send NAK(offset) */
	XFER_DATA_DROPPED,  /* ignored, send nothing */
	XFER_DATA_ERROR,    /* bad length; status in *status */
};

struct xfer {
	uint8_t *buf;
	size_t cap;

	enum xfer_state state;
	uint8_t format;
	uint32_t len;
	uint32_t crc_expected;
	uint32_t id;

	uint32_t offset;   /* bytes received in order */
	uint32_t crc_run;  /* running CRC state (not finalised) */
	uint32_t last_ack;
	bool nak_sent;
};

/* Image size in bytes for a format, or 0 if unsupported. */
uint32_t xfer_format_size(uint8_t format);

void xfer_init(struct xfer *x, uint8_t *buf, size_t cap);

/* START. Returns an epin_status; on OK *resume_offset says where to continue. */
int xfer_start(struct xfer *x, uint8_t format, uint32_t len, uint32_t crc,
	       uint32_t id, uint32_t *resume_offset);

/* One data packet. *status is set only for XFER_DATA_ERROR. */
enum xfer_data_result xfer_data(struct xfer *x, uint32_t offset,
				const uint8_t *data, size_t n, int *status);

/* COMMIT. On OK the state becomes XFER_REFRESHING and the caller draws buf. */
int xfer_commit(struct xfer *x);

/* Panel finished drawing (whatever the outcome): back to IDLE. */
void xfer_refresh_done(struct xfer *x);

/* ABORT, or the pin is going to sleep. */
void xfer_reset(struct xfer *x);

/* State as reported over BLE: RECEIVING with every byte in reads as READY. */
static inline enum xfer_state xfer_reported_state(const struct xfer *x)
{
	if (x->state == XFER_RECEIVING && x->offset == x->len) {
		return XFER_READY;
	}
	return x->state;
}

/* Standard CRC-32 (zlib / java.util.zip.CRC32), in pieces. */
uint32_t xfer_crc32_update(uint32_t crc, const uint8_t *data, size_t n);
static inline uint32_t xfer_crc32(const uint8_t *data, size_t n)
{
	return xfer_crc32_update(0, data, n);
}

#endif /* EPIN_XFER_H_ */
```
